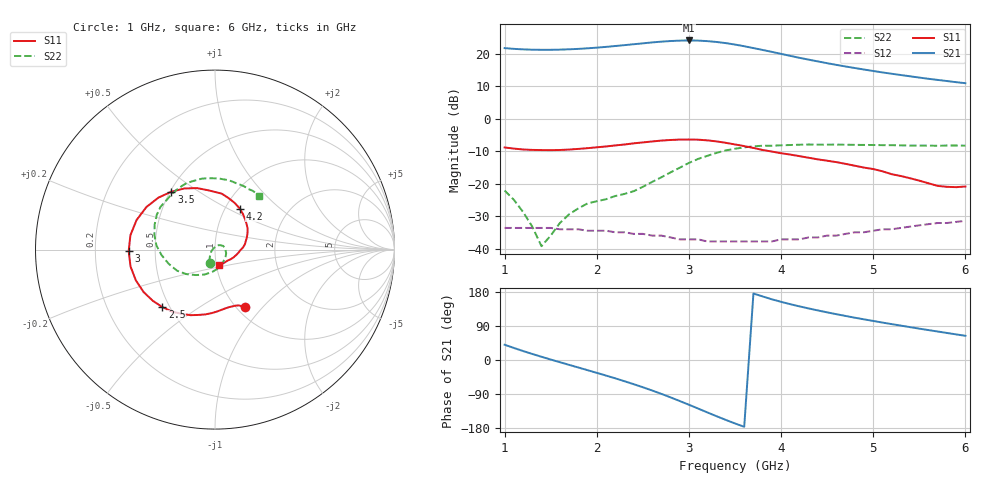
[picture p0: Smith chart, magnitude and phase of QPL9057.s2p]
# GHz  S  MA  R  50
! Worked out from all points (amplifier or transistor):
!   51 points, 1 GHz to 6 GHz, reference 50 ohm
!   highest |S21| = 24.1 dB at 3 GHz (marker M1)
!   |S21| within 3 dB of that: start of sweep to 3.812 GHz
!   unconditionally stable (mu >= 1): start of sweep to end of sweep
!   at 1.8 GHz: K = 1.95, MAG = 22.2 dB, |S12| = -34.0 dB
!   at 3.5 GHz: K = 2.07, MAG = 24.4 dB, |S12| = -37.7 dB
!   at 6 GHz: K = 4.50, MAG = 11.7 dB, |S12| = -31.4 dB
!   S11 on the Smith chart (normalised r, x): 1 GHz: 1.09, -0.81; 2.5 GHz: 0.46, -0.36; 3 GHz: 0.35, -0.01; 3.5 GHz: 0.51, +0.39; 4.2 GHz: 1.17, +0.57; 6 GHz: 1.03, -0.18
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1  0.363 -62.4  12.26 40.3  0.021 -7.2  0.079 -111.8
1.2  0.338 -67.0  11.73 23.7  0.021 -15.3  0.037 -135.0
1.4  0.331 -72.6  11.54 8.5  0.021 -23.5  0.011 153.1
1.7  0.337 -83.5  11.75 -12.9  0.02 -36.3  0.034 47.8
1.9  0.354 -92.9  12.17 -26.8  0.019 -45.9  0.05 24.1
2.2  0.39 -110.5  13.2 -48.3  0.018 -62.6  0.065 -16.7
2.4  0.42 -124.5  14.06 -63.8  0.017 -76.1  0.077 -48.0
2.5  0.434 -132.4  14.51 -71.9  0.017 -83.9  0.09 -65.7
2.7  0.463 -149.4  15.4 -89.3  0.016 -102.0  0.126 -97.4
2.9  0.48 -168.7  15.98 -108.2  0.014 -123.4  0.177 -126.7
3  0.481 -179.0  16.07 -118.1  0.014 -135.1  0.21 -139.4
3.2  0.467 159.4  15.7 -138.3  0.013 -160.2  0.27 -163.0
3.3  0.45 148.3  15.23 -148.4  0.013 -172.3  0.3 -174.3
3.4  0.428 137.4  14.63 -158.1  0.013 175.9  0.327 176.0
3.5  0.404 127.0  13.9 -167.4  0.013 165.2  0.347 166.7
3.7  0.357 106.2  12.27 175.5  0.013 146.9  0.378 149.1
3.9  0.314 83.2  10.73 160.1  0.013 132.2  0.386 134.1
4.2  0.267 58.8  8.687 141.5  0.014 118.1  0.4 117.0
4.4  0.238 45.3  7.647 130.8  0.015 110.8  0.401 108.9
4.8  0.19 20.8  6.056 111.6  0.018 100.3  0.398 93.2
5.2  0.141 -1.7  4.943 94.7  0.02 91.5  0.394 79.0
6  0.091 -76.5  3.537 63.8  0.027 73.6  0.387 50.6
